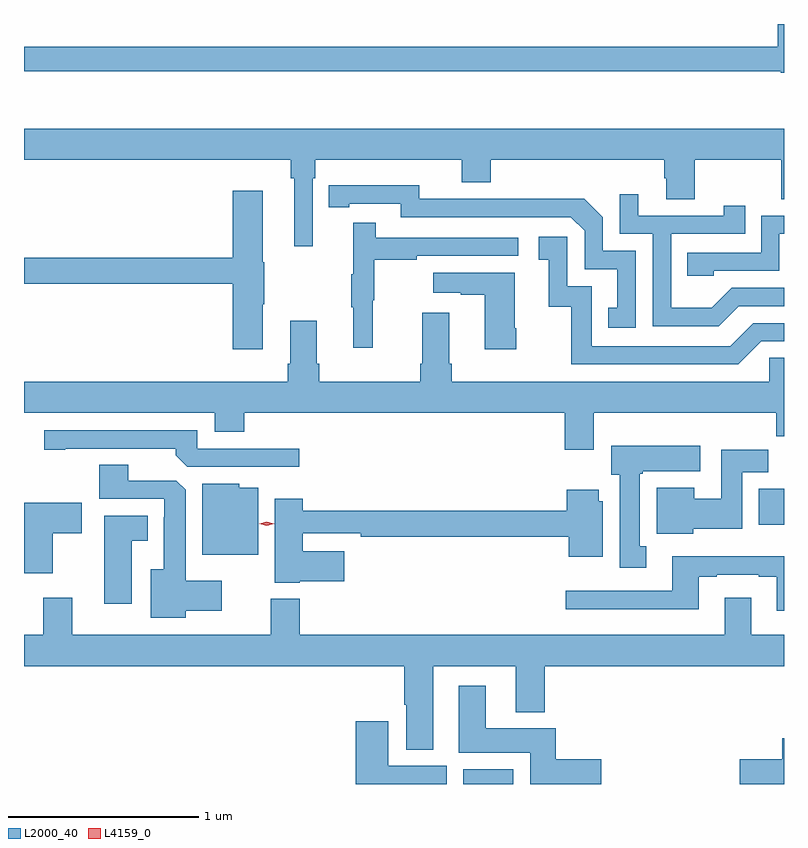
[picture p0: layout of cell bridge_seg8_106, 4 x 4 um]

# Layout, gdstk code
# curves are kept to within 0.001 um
import gdstk
lib = gdstk.Library(unit=1e-6, precision=1e-09)
def R(c, l, rs):  # rectangles x0, y0, x1, y1
    for r in rs: c.add(gdstk.rectangle(r[:2], r[2:], *l))
def P(c, l, *ps):  # polygons
    for p in ps: c.add(gdstk.Polygon(p, *l))
L2000_40 = (2000, 40)
L4159_0 = (4159, 0)

bridge_seg8_106 = lib.new_cell('bridge_seg8_106')
R(bridge_seg8_106, L2000_40, [(700.253,1145.183,700.516,1145.26), (701.807,1146.548,701.94,1146.736)])
P(bridge_seg8_106, L2000_40, [(701.94,1149.183),(701.906,1149.183),(701.906,1149.062),(697.94,1149.062),(697.94,1148.934),(701.922,1148.934),(701.922,1148.926),(701.94,1148.926)],
  [(699.459,1148.372),(699.473,1148.372),(699.473,1148.468),(700.244,1148.468),(700.244,1148.351),(700.397,1148.351),(700.397,1148.468),(701.309,1148.468),(701.309,1148.37),(701.321,1148.37),(701.321,1148.26),(701.469,1148.26),(701.469,1148.468),(701.926,1148.468),(701.926,1148.26),(701.94,1148.26),(701.94,1148.632),(697.94,1148.632),(697.94,1148.468),(699.343,1148.468),(699.343,1148.372),(699.362,1148.372),(699.362,1148.013),(699.459,1148.013)],
  [(701.16,1147.989),(700.986,1147.989),(700.986,1148.166),(700.888,1148.264),(700.48,1148.264),(700.48,1148.262),(700.02,1148.262),(700.02,1148.335),(699.544,1148.334),(699.544,1148.218),(699.652,1148.218),(699.652,1148.238),(699.924,1148.238),(699.924,1148.166),(700.818,1148.166),(700.89,1148.094),(700.89,1147.893),(701.063,1147.893),(701.063,1147.689),(701.014,1147.689),(701.014,1147.584),(701.16,1147.584)],
  [(699.196,1147.708),(699.204,1147.708),(699.204,1147.929),(699.196,1147.929),(699.196,1148.305),(699.038,1148.305),(699.038,1147.952),(697.94,1147.952),(697.94,1147.816),(699.038,1147.816),(699.038,1147.47),(699.196,1147.47)],
  [(701.701,1147.698),(701.94,1147.698),(701.94,1147.794),(701.664,1147.794),(701.56,1147.69),(701.346,1147.69),(701.346,1148.079),(701.735,1148.079),(701.735,1148.227),(701.624,1148.227),(701.624,1148.175),(701.173,1148.175),(701.173,1148.287),(701.076,1148.287),(701.076,1148.079),(701.25,1148.079),(701.25,1147.593),(701.596,1147.593)],
  [(701.571,1147.884),(701.916,1147.884),(701.916,1148.079),(701.94,1148.079),(701.94,1148.175),(701.82,1148.175),(701.82,1147.98),(701.431,1147.98),(701.431,1147.857),(701.571,1147.857)],
  [(699.776,1147.728),(699.784,1147.728),(699.784,1147.942),(700.007,1147.942),(700.007,1147.962),(700.54,1147.962),(700.54,1148.058),(699.791,1148.058),(699.791,1148.137),(699.674,1148.137),(699.674,1147.865),(699.663,1147.865),(699.663,1147.691),(699.674,1147.691),(699.674,1147.479),(699.776,1147.479)],
  [(701.82,1147.512),(701.94,1147.512),(701.94,1147.608),(701.778,1147.608),(701.658,1147.488),(700.929,1147.488),(700.929,1147.803),(700.8,1147.803),(700.8,1148.062),(700.65,1148.062),(700.65,1147.941),(700.703,1147.941),(700.703,1147.695),(700.821,1147.695),(700.821,1147.392),(701.7,1147.392)],
  [(700.53,1147.582),(700.522,1147.582),(700.522,1147.873),(700.095,1147.873),(700.095,1147.769),(700.238,1147.769),(700.238,1147.759),(700.364,1147.759),(700.364,1147.47),(700.53,1147.47)],
  [(700.939,1147.136),(701.899,1147.136),(701.899,1147.012),(701.94,1147.012),(701.94,1147.427),(701.862,1147.427),(701.862,1147.3),(700.19,1147.3),(700.19,1147.396),(700.177,1147.396),(700.177,1147.663),(700.037,1147.663),(700.037,1147.396),(700.025,1147.396),(700.025,1147.3),(699.494,1147.3),(699.494,1147.396),(699.481,1147.396),(699.481,1147.621),(699.341,1147.621),(699.341,1147.396),(699.329,1147.396),(699.329,1147.3),(697.94,1147.3),(697.94,1147.136),(698.945,1147.136),(698.945,1147.037),(699.098,1147.037),(699.098,1147.136),(700.787,1147.136),(700.787,1146.942),(700.939,1146.942)],
  [(699.388,1146.948),(698.853,1146.948),(698.853,1147.044),(698.046,1147.044),(698.046,1146.943),(698.158,1146.943),(698.158,1146.948),(698.738,1146.948),(698.738,1146.914),(698.799,1146.852),(699.388,1146.852)],
  [(701.215,1146.434),(701.182,1146.434),(701.182,1146.817),(701.196,1146.817),(701.196,1146.83),(701.5,1146.83),(701.5,1146.964),(701.03,1146.964),(701.03,1146.81),(701.075,1146.81),(701.075,1146.321),(701.215,1146.321)],
  [(701.463,1146.527),(701.719,1146.527),(701.719,1146.824),(701.858,1146.824),(701.858,1146.943),(701.609,1146.943),(701.609,1146.685),(701.467,1146.685),(701.467,1146.742),(701.27,1146.742),(701.27,1146.5),(701.463,1146.5)],
  [(698.791,1146.095),(698.98,1146.095),(698.98,1146.253),(698.791,1146.253),(698.791,1146.731),(698.742,1146.78),(698.488,1146.78),(698.488,1146.863),(698.336,1146.863),(698.336,1146.684),(698.679,1146.684),(698.679,1146.587),(698.675,1146.587),(698.675,1146.313),(698.606,1146.313),(698.606,1146.059),(698.791,1146.059)],
  [(699.172,1146.742),(699.072,1146.742),(699.072,1146.763),(698.879,1146.763),(698.879,1146.389),(699.172,1146.389)],
  [(699.39,1146.251),(699.625,1146.251),(699.625,1146.409),(699.407,1146.409),(699.407,1146.504),(699.712,1146.504),(699.712,1146.484),(700.808,1146.484),(700.808,1146.38),(700.987,1146.38),(700.987,1146.672),(700.966,1146.672),(700.966,1146.733),(700.796,1146.733),(700.796,1146.62),(699.407,1146.62),(699.407,1146.685),(699.26,1146.685),(699.26,1146.242),(699.39,1146.242)],
  [(698.092,1146.502),(698.245,1146.502),(698.245,1146.664),(697.94,1146.664),(697.94,1146.291),(698.092,1146.291)],
  [(698.506,1146.464),(698.59,1146.464),(698.59,1146.595),(698.363,1146.595),(698.363,1146.132),(698.506,1146.132)],
  [(701.94,1146.382),(701.631,1146.382),(701.631,1146.381),(701.351,1146.381),(701.351,1146.201),(700.791,1146.201),(700.791,1146.104),(701.491,1146.104),(701.491,1146.273),(701.587,1146.273),(701.587,1146.285),(701.807,1146.285),(701.807,1146.273),(701.903,1146.273),(701.903,1146.096),(701.94,1146.096)],
  [(700.093,1145.804),(700.529,1145.804),(700.529,1145.561),(700.682,1145.561),(700.682,1145.804),(701.94,1145.804),(701.94,1145.968),(701.767,1145.968),(701.767,1146.163),(701.627,1146.163),(701.627,1145.968),(699.392,1145.968),(699.392,1146.157),(699.239,1146.157),(699.239,1145.968),(698.194,1145.968),(698.194,1146.163),(698.042,1146.163),(698.042,1145.968),(697.94,1145.968),(697.94,1145.804),(699.941,1145.804),(699.941,1145.599),(699.953,1145.599),(699.953,1145.363),(700.093,1145.363)],
  [(700.978,1145.312),(700.739,1145.312),(700.739,1145.476),(700.369,1145.476),(700.369,1145.701),(700.229,1145.701),(700.229,1145.348),(700.604,1145.348),(700.604,1145.183),(700.978,1145.183)],
  [(700.165,1145.278),(699.856,1145.278),(699.856,1145.512),(699.686,1145.512),(699.686,1145.183),(700.165,1145.183)],
  [(701.94,1145.425),(701.93,1145.425),(701.93,1145.312),(701.706,1145.312),(701.706,1145.183),(701.94,1145.183)])
P(bridge_seg8_106, L4159_0, [(699.217,1146.542),(699.179,1146.552),(699.179,1146.552),(699.179,1146.552),(699.217,1146.562),(699.256,1146.553),(699.256,1146.552),(699.256,1146.552)])

lib.write_gds('bridge_seg8_106.gds')
